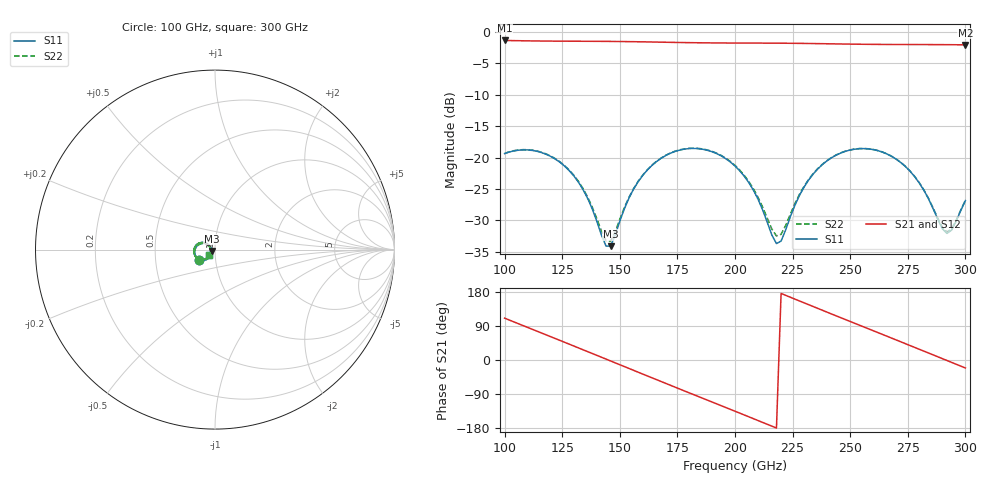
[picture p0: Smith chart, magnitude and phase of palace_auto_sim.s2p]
#  GHZ S DB R 50
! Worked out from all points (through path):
!   101 points, 100 GHz to 300 GHz, reference 50 ohm
!   highest |S21| = -1.41 dB at 100 GHz (marker M1); lowest = -2.1 dB at 300 GHz (marker M2)
!   group delay of S21, straight-line fit = 6.83 ps
!   lowest |S11| = -34.1 dB at 146 GHz (marker M3), VSWR 1.04, Z = 48.2 - j0.719 ohm
!   |S11| at or under -10 dB: start of sweep to end of sweep
!   |S22| runs from -33.3 to -18.5 dB; largest |S21 - S12| = 9.6e-14
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100  -19.38 -148.5  -1.41 110.5  -1.41 110.5  -19.35 -148.0
108  -18.79 -165.9  -1.46 90.9  -1.46 90.9  -18.75 -165.2
116  -19.21 177.0  -1.49 71.3  -1.49 71.3  -19.16 177.9
126  -21.35 157.2  -1.52 46.8  -1.52 46.8  -21.27 158.6
134  -25.07 145.9  -1.53 27.1  -1.53 27.1  -24.91 147.9
144  -34.06 177.7  -1.55 2.4  -1.55 2.4  -33.20 178.8
146  -34.08 -157.8  -1.56 -2.5  -1.56 -2.5  -33.27 -159.5
156  -25.02 -125.3  -1.60 -27.3  -1.60 -27.3  -24.93 -126.7
168  -20.10 -143.9  -1.68 -56.9  -1.68 -56.9  -20.06 -144.2
184  -18.59 -176.5  -1.77 -96.1  -1.77 -96.1  -18.55 -176.0
200  -21.35 152.5  -1.81 -135.2  -1.81 -135.2  -21.25 153.8
208  -25.20 142.5  -1.82 -154.8  -1.82 -154.8  -24.97 144.9
218  -33.67 179.9  -1.84 -179.5  -1.84 -179.5  -32.46 180.0
220  -33.27 -157.6  -1.84 175.6  -1.84 175.6  -32.20 -160.8
228  -26.01 -128.9  -1.87 155.8  -1.87 155.8  -25.83 -132.2
234  -22.60 -134.2  -1.90 140.9  -1.90 140.9  -22.53 -136.4
244  -19.60 -151.2  -1.95 116.3  -1.95 116.3  -19.57 -152.6
252  -18.67 -166.8  -2.00 96.8  -2.00 96.8  -18.65 -167.8
268  -19.82 162.3  -2.04 57.7  -2.04 57.7  -19.80 161.8
280  -24.05 145.6  -2.06 28.3  -2.06 28.3  -24.00 145.4
292  -32.05 -176.6  -2.08 -1.3  -2.08 -1.3  -31.83 -177.2
300  -26.84 -135.4  -2.10 -21.1  -2.10 -21.1  -26.79 -136.6
